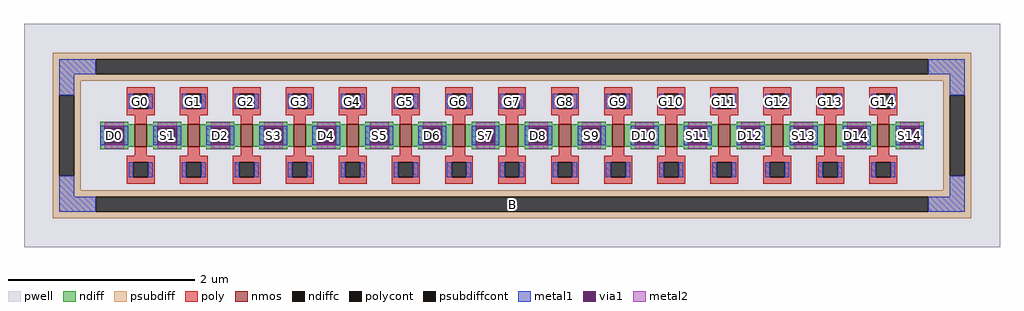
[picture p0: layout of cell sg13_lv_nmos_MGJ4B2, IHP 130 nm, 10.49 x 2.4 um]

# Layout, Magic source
magic
tech ihp-sg13cmos5l
magscale 1 2
<< pwell >>
rect -1049 -240 1049 240
<< nmos >>
rect -811 -24 -785 24
rect -697 -24 -671 24
rect -583 -24 -557 24
rect -469 -24 -443 24
rect -355 -24 -329 24
rect -241 -24 -215 24
rect -127 -24 -101 24
rect -13 -24 13 24
rect 101 -24 127 24
rect 215 -24 241 24
rect 329 -24 355 24
rect 443 -24 469 24
rect 557 -24 583 24
rect 671 -24 697 24
rect 785 -24 811 24
<< ndiff >>
rect -885 24 -825 30
rect -771 24 -711 30
rect -657 24 -597 30
rect -543 24 -483 30
rect -429 24 -369 30
rect -315 24 -255 30
rect -201 24 -141 30
rect -87 24 -27 30
rect 27 24 87 30
rect 141 24 201 30
rect 255 24 315 30
rect 369 24 429 30
rect 483 24 543 30
rect 597 24 657 30
rect 711 24 771 30
rect 825 24 885 30
rect -885 16 -811 24
rect -885 -16 -871 16
rect -839 -16 -811 16
rect -885 -24 -811 -16
rect -785 16 -697 24
rect -785 -16 -757 16
rect -725 -16 -697 16
rect -785 -24 -697 -16
rect -671 16 -583 24
rect -671 -16 -643 16
rect -611 -16 -583 16
rect -671 -24 -583 -16
rect -557 16 -469 24
rect -557 -16 -529 16
rect -497 -16 -469 16
rect -557 -24 -469 -16
rect -443 16 -355 24
rect -443 -16 -415 16
rect -383 -16 -355 16
rect -443 -24 -355 -16
rect -329 16 -241 24
rect -329 -16 -301 16
rect -269 -16 -241 16
rect -329 -24 -241 -16
rect -215 16 -127 24
rect -215 -16 -187 16
rect -155 -16 -127 16
rect -215 -24 -127 -16
rect -101 16 -13 24
rect -101 -16 -73 16
rect -41 -16 -13 16
rect -101 -24 -13 -16
rect 13 16 101 24
rect 13 -16 41 16
rect 73 -16 101 16
rect 13 -24 101 -16
rect 127 16 215 24
rect 127 -16 155 16
rect 187 -16 215 16
rect 127 -24 215 -16
rect 241 16 329 24
rect 241 -16 269 16
rect 301 -16 329 16
rect 241 -24 329 -16
rect 355 16 443 24
rect 355 -16 383 16
rect 415 -16 443 16
rect 355 -24 443 -16
rect 469 16 557 24
rect 469 -16 497 16
rect 529 -16 557 16
rect 469 -24 557 -16
rect 583 16 671 24
rect 583 -16 611 16
rect 643 -16 671 16
rect 583 -24 671 -16
rect 697 16 785 24
rect 697 -16 725 16
rect 757 -16 785 16
rect 697 -24 785 -16
rect 811 16 885 24
rect 811 -16 839 16
rect 871 -16 885 16
rect 811 -24 885 -16
rect -885 -30 -825 -24
rect -771 -30 -711 -24
rect -657 -30 -597 -24
rect -543 -30 -483 -24
rect -429 -30 -369 -24
rect -315 -30 -255 -24
rect -201 -30 -141 -24
rect -87 -30 -27 -24
rect 27 -30 87 -24
rect 141 -30 201 -24
rect 255 -30 315 -24
rect 369 -30 429 -24
rect 483 -30 543 -24
rect 597 -30 657 -24
rect 711 -30 771 -24
rect 825 -30 885 -24
<< ndiffc >>
rect -871 -16 -839 16
rect -757 -16 -725 16
rect -643 -16 -611 16
rect -529 -16 -497 16
rect -415 -16 -383 16
rect -301 -16 -269 16
rect -187 -16 -155 16
rect -73 -16 -41 16
rect 41 -16 73 16
rect 155 -16 187 16
rect 269 -16 301 16
rect 383 -16 415 16
rect 497 -16 529 16
rect 611 -16 643 16
rect 725 -16 757 16
rect 839 -16 871 16
<< psubdiff >>
rect -987 164 987 178
rect -987 132 -895 164
rect 895 132 987 164
rect -987 118 987 132
rect -987 86 -927 118
rect -987 -86 -973 86
rect -941 -86 -927 86
rect 927 86 987 118
rect -987 -118 -927 -86
rect 927 -86 941 86
rect 973 -86 987 86
rect 927 -118 987 -86
rect -987 -132 987 -118
rect -987 -164 -895 -132
rect 895 -164 987 -132
rect -987 -178 987 -164
<< psubdiffcont >>
rect -895 132 895 164
rect -973 -86 -941 86
rect 941 -86 973 86
rect -895 -164 895 -132
<< poly >>
rect -828 90 -768 104
rect -828 58 -814 90
rect -782 58 -768 90
rect -828 44 -768 58
rect -714 90 -654 104
rect -714 58 -700 90
rect -668 58 -654 90
rect -714 44 -654 58
rect -600 90 -540 104
rect -600 58 -586 90
rect -554 58 -540 90
rect -600 44 -540 58
rect -486 90 -426 104
rect -486 58 -472 90
rect -440 58 -426 90
rect -486 44 -426 58
rect -372 90 -312 104
rect -372 58 -358 90
rect -326 58 -312 90
rect -372 44 -312 58
rect -258 90 -198 104
rect -258 58 -244 90
rect -212 58 -198 90
rect -258 44 -198 58
rect -144 90 -84 104
rect -144 58 -130 90
rect -98 58 -84 90
rect -144 44 -84 58
rect -30 90 30 104
rect -30 58 -16 90
rect 16 58 30 90
rect -30 44 30 58
rect 84 90 144 104
rect 84 58 98 90
rect 130 58 144 90
rect 84 44 144 58
rect 198 90 258 104
rect 198 58 212 90
rect 244 58 258 90
rect 198 44 258 58
rect 312 90 372 104
rect 312 58 326 90
rect 358 58 372 90
rect 312 44 372 58
rect 426 90 486 104
rect 426 58 440 90
rect 472 58 486 90
rect 426 44 486 58
rect 540 90 600 104
rect 540 58 554 90
rect 586 58 600 90
rect 540 44 600 58
rect 654 90 714 104
rect 654 58 668 90
rect 700 58 714 90
rect 654 44 714 58
rect 768 90 828 104
rect 768 58 782 90
rect 814 58 828 90
rect 768 44 828 58
rect -811 24 -785 44
rect -697 24 -671 44
rect -583 24 -557 44
rect -469 24 -443 44
rect -355 24 -329 44
rect -241 24 -215 44
rect -127 24 -101 44
rect -13 24 13 44
rect 101 24 127 44
rect 215 24 241 44
rect 329 24 355 44
rect 443 24 469 44
rect 557 24 583 44
rect 671 24 697 44
rect 785 24 811 44
rect -811 -44 -785 -24
rect -697 -44 -671 -24
rect -583 -44 -557 -24
rect -469 -44 -443 -24
rect -355 -44 -329 -24
rect -241 -44 -215 -24
rect -127 -44 -101 -24
rect -13 -44 13 -24
rect 101 -44 127 -24
rect 215 -44 241 -24
rect 329 -44 355 -24
rect 443 -44 469 -24
rect 557 -44 583 -24
rect 671 -44 697 -24
rect 785 -44 811 -24
rect -828 -58 -768 -44
rect -828 -90 -814 -58
rect -782 -90 -768 -58
rect -828 -104 -768 -90
rect -714 -58 -654 -44
rect -714 -90 -700 -58
rect -668 -90 -654 -58
rect -714 -104 -654 -90
rect -600 -58 -540 -44
rect -600 -90 -586 -58
rect -554 -90 -540 -58
rect -600 -104 -540 -90
rect -486 -58 -426 -44
rect -486 -90 -472 -58
rect -440 -90 -426 -58
rect -486 -104 -426 -90
rect -372 -58 -312 -44
rect -372 -90 -358 -58
rect -326 -90 -312 -58
rect -372 -104 -312 -90
rect -258 -58 -198 -44
rect -258 -90 -244 -58
rect -212 -90 -198 -58
rect -258 -104 -198 -90
rect -144 -58 -84 -44
rect -144 -90 -130 -58
rect -98 -90 -84 -58
rect -144 -104 -84 -90
rect -30 -58 30 -44
rect -30 -90 -16 -58
rect 16 -90 30 -58
rect -30 -104 30 -90
rect 84 -58 144 -44
rect 84 -90 98 -58
rect 130 -90 144 -58
rect 84 -104 144 -90
rect 198 -58 258 -44
rect 198 -90 212 -58
rect 244 -90 258 -58
rect 198 -104 258 -90
rect 312 -58 372 -44
rect 312 -90 326 -58
rect 358 -90 372 -58
rect 312 -104 372 -90
rect 426 -58 486 -44
rect 426 -90 440 -58
rect 472 -90 486 -58
rect 426 -104 486 -90
rect 540 -58 600 -44
rect 540 -90 554 -58
rect 586 -90 600 -58
rect 540 -104 600 -90
rect 654 -58 714 -44
rect 654 -90 668 -58
rect 700 -90 714 -58
rect 654 -104 714 -90
rect 768 -58 828 -44
rect 768 -90 782 -58
rect 814 -90 828 -58
rect 768 -104 828 -90
<< polycont >>
rect -814 58 -782 90
rect -700 58 -668 90
rect -586 58 -554 90
rect -472 58 -440 90
rect -358 58 -326 90
rect -244 58 -212 90
rect -130 58 -98 90
rect -16 58 16 90
rect 98 58 130 90
rect 212 58 244 90
rect 326 58 358 90
rect 440 58 472 90
rect 554 58 586 90
rect 668 58 700 90
rect 782 58 814 90
rect -814 -90 -782 -58
rect -700 -90 -668 -58
rect -586 -90 -554 -58
rect -472 -90 -440 -58
rect -358 -90 -326 -58
rect -244 -90 -212 -58
rect -130 -90 -98 -58
rect -16 -90 16 -58
rect 98 -90 130 -58
rect 212 -90 244 -58
rect 326 -90 358 -58
rect 440 -90 472 -58
rect 554 -90 586 -58
rect 668 -90 700 -58
rect 782 -90 814 -58
<< metal1 >>
rect -973 132 -895 164
rect 895 132 973 164
rect -973 86 -941 132
rect -824 58 -814 90
rect -782 58 -772 90
rect -710 58 -700 90
rect -668 58 -658 90
rect -596 58 -586 90
rect -554 58 -544 90
rect -482 58 -472 90
rect -440 58 -430 90
rect -368 58 -358 90
rect -326 58 -316 90
rect -254 58 -244 90
rect -212 58 -202 90
rect -140 58 -130 90
rect -98 58 -88 90
rect -26 58 -16 90
rect 16 58 26 90
rect 88 58 98 90
rect 130 58 140 90
rect 202 58 212 90
rect 244 58 254 90
rect 316 58 326 90
rect 358 58 368 90
rect 430 58 440 90
rect 472 58 482 90
rect 544 58 554 90
rect 586 58 596 90
rect 658 58 668 90
rect 700 58 710 90
rect 772 58 782 90
rect 814 58 824 90
rect 941 86 973 132
rect -885 20 -825 21
rect -885 -20 -875 20
rect -835 -20 -825 20
rect -885 -21 -825 -20
rect -771 20 -711 21
rect -771 -20 -761 20
rect -721 -20 -711 20
rect -771 -21 -711 -20
rect -657 20 -597 21
rect -657 -20 -647 20
rect -607 -20 -597 20
rect -657 -21 -597 -20
rect -543 20 -483 21
rect -543 -20 -533 20
rect -493 -20 -483 20
rect -543 -21 -483 -20
rect -429 20 -369 21
rect -429 -20 -419 20
rect -379 -20 -369 20
rect -429 -21 -369 -20
rect -315 20 -255 21
rect -315 -20 -305 20
rect -265 -20 -255 20
rect -315 -21 -255 -20
rect -201 20 -141 21
rect -201 -20 -191 20
rect -151 -20 -141 20
rect -201 -21 -141 -20
rect -87 20 -27 21
rect -87 -20 -77 20
rect -37 -20 -27 20
rect -87 -21 -27 -20
rect 27 20 87 21
rect 27 -20 37 20
rect 77 -20 87 20
rect 27 -21 87 -20
rect 141 20 201 21
rect 141 -20 151 20
rect 191 -20 201 20
rect 141 -21 201 -20
rect 255 20 315 21
rect 255 -20 265 20
rect 305 -20 315 20
rect 255 -21 315 -20
rect 369 20 429 21
rect 369 -20 379 20
rect 419 -20 429 20
rect 369 -21 429 -20
rect 483 20 543 21
rect 483 -20 493 20
rect 533 -20 543 20
rect 483 -21 543 -20
rect 597 20 657 21
rect 597 -20 607 20
rect 647 -20 657 20
rect 597 -21 657 -20
rect 711 20 771 21
rect 711 -20 721 20
rect 761 -20 771 20
rect 711 -21 771 -20
rect 825 20 885 21
rect 825 -20 835 20
rect 875 -20 885 20
rect 825 -21 885 -20
rect -973 -132 -941 -86
rect -824 -90 -814 -58
rect -782 -90 -772 -58
rect -710 -90 -700 -58
rect -668 -90 -658 -58
rect -596 -90 -586 -58
rect -554 -90 -544 -58
rect -482 -90 -472 -58
rect -440 -90 -430 -58
rect -368 -90 -358 -58
rect -326 -90 -316 -58
rect -254 -90 -244 -58
rect -212 -90 -202 -58
rect -140 -90 -130 -58
rect -98 -90 -88 -58
rect -26 -90 -16 -58
rect 16 -90 26 -58
rect 88 -90 98 -58
rect 130 -90 140 -58
rect 202 -90 212 -58
rect 244 -90 254 -58
rect 316 -90 326 -58
rect 358 -90 368 -58
rect 430 -90 440 -58
rect 472 -90 482 -58
rect 544 -90 554 -58
rect 586 -90 596 -58
rect 658 -90 668 -58
rect 700 -90 710 -58
rect 772 -90 782 -58
rect 814 -90 824 -58
rect 941 -132 973 -86
rect -973 -164 -895 -132
rect 895 -164 973 -132
<< via1 >>
rect -875 16 -835 20
rect -875 -16 -871 16
rect -871 -16 -839 16
rect -839 -16 -835 16
rect -875 -20 -835 -16
rect -761 16 -721 20
rect -761 -16 -757 16
rect -757 -16 -725 16
rect -725 -16 -721 16
rect -761 -20 -721 -16
rect -647 16 -607 20
rect -647 -16 -643 16
rect -643 -16 -611 16
rect -611 -16 -607 16
rect -647 -20 -607 -16
rect -533 16 -493 20
rect -533 -16 -529 16
rect -529 -16 -497 16
rect -497 -16 -493 16
rect -533 -20 -493 -16
rect -419 16 -379 20
rect -419 -16 -415 16
rect -415 -16 -383 16
rect -383 -16 -379 16
rect -419 -20 -379 -16
rect -305 16 -265 20
rect -305 -16 -301 16
rect -301 -16 -269 16
rect -269 -16 -265 16
rect -305 -20 -265 -16
rect -191 16 -151 20
rect -191 -16 -187 16
rect -187 -16 -155 16
rect -155 -16 -151 16
rect -191 -20 -151 -16
rect -77 16 -37 20
rect -77 -16 -73 16
rect -73 -16 -41 16
rect -41 -16 -37 16
rect -77 -20 -37 -16
rect 37 16 77 20
rect 37 -16 41 16
rect 41 -16 73 16
rect 73 -16 77 16
rect 37 -20 77 -16
rect 151 16 191 20
rect 151 -16 155 16
rect 155 -16 187 16
rect 187 -16 191 16
rect 151 -20 191 -16
rect 265 16 305 20
rect 265 -16 269 16
rect 269 -16 301 16
rect 301 -16 305 16
rect 265 -20 305 -16
rect 379 16 419 20
rect 379 -16 383 16
rect 383 -16 415 16
rect 415 -16 419 16
rect 379 -20 419 -16
rect 493 16 533 20
rect 493 -16 497 16
rect 497 -16 529 16
rect 529 -16 533 16
rect 493 -20 533 -16
rect 607 16 647 20
rect 607 -16 611 16
rect 611 -16 643 16
rect 643 -16 647 16
rect 607 -20 647 -16
rect 721 16 761 20
rect 721 -16 725 16
rect 725 -16 757 16
rect 757 -16 761 16
rect 721 -20 761 -16
rect 835 16 875 20
rect 835 -16 839 16
rect 839 -16 871 16
rect 871 -16 875 16
rect 835 -20 875 -16
<< metal2 >>
rect -875 20 -835 29
rect -875 -29 -835 -20
rect -761 20 -721 29
rect -761 -29 -721 -20
rect -647 20 -607 29
rect -647 -29 -607 -20
rect -533 20 -493 29
rect -533 -29 -493 -20
rect -419 20 -379 29
rect -419 -29 -379 -20
rect -305 20 -265 29
rect -305 -29 -265 -20
rect -191 20 -151 29
rect -191 -29 -151 -20
rect -77 20 -37 29
rect -77 -29 -37 -20
rect 37 20 77 29
rect 37 -29 77 -20
rect 151 20 191 29
rect 151 -29 191 -20
rect 265 20 305 29
rect 265 -29 305 -20
rect 379 20 419 29
rect 379 -29 419 -20
rect 493 20 533 29
rect 493 -29 533 -20
rect 607 20 647 29
rect 607 -29 647 -20
rect 721 20 761 29
rect 721 -29 761 -20
rect 835 20 875 29
rect 835 -29 875 -20
<< labels >>
rlabel psubdiffcont 0 -148 0 -148 0 B
port 1 nsew
rlabel ndiffc -855 0 -855 0 0 D0
port 2 nsew
rlabel polycont -798 74 -798 74 0 G0
port 3 nsew
rlabel ndiffc -741 0 -741 0 0 S1
port 4 nsew
rlabel polycont -684 74 -684 74 0 G1
port 5 nsew
rlabel ndiffc -627 0 -627 0 0 D2
port 6 nsew
rlabel polycont -570 74 -570 74 0 G2
port 7 nsew
rlabel ndiffc -513 0 -513 0 0 S3
port 8 nsew
rlabel polycont -456 74 -456 74 0 G3
port 9 nsew
rlabel ndiffc -399 0 -399 0 0 D4
port 10 nsew
rlabel polycont -342 74 -342 74 0 G4
port 11 nsew
rlabel ndiffc -285 0 -285 0 0 S5
port 12 nsew
rlabel polycont -228 74 -228 74 0 G5
port 13 nsew
rlabel ndiffc -171 0 -171 0 0 D6
port 14 nsew
rlabel polycont -114 74 -114 74 0 G6
port 15 nsew
rlabel ndiffc -57 0 -57 0 0 S7
port 16 nsew
rlabel polycont 0 74 0 74 0 G7
port 17 nsew
rlabel ndiffc 57 0 57 0 0 D8
port 18 nsew
rlabel polycont 114 74 114 74 0 G8
port 19 nsew
rlabel ndiffc 171 0 171 0 0 S9
port 20 nsew
rlabel polycont 228 74 228 74 0 G9
port 21 nsew
rlabel ndiffc 285 0 285 0 0 D10
port 22 nsew
rlabel polycont 342 74 342 74 0 G10
port 23 nsew
rlabel ndiffc 399 0 399 0 0 S11
port 24 nsew
rlabel polycont 456 74 456 74 0 G11
port 25 nsew
rlabel ndiffc 513 0 513 0 0 D12
port 26 nsew
rlabel polycont 570 74 570 74 0 G12
port 27 nsew
rlabel ndiffc 627 0 627 0 0 S13
port 28 nsew
rlabel polycont 684 74 684 74 0 G13
port 29 nsew
rlabel ndiffc 741 0 741 0 0 D14
port 30 nsew
rlabel ndiffc 855 0 855 0 0 S14
port 31 nsew
rlabel polycont 798 74 798 74 0 G14
port 32 nsew
<< properties >>
string FIXED_BBOX -957 -148 957 148
string gencell sg13_lv_nmos
string library sg13cmos5l
string parameters w 0.24 l 0.13 m 1 ng 15 diffcov 85 polycov 100 guard 1 glc 1 grc 1 gtc 1 gbc 1 tbcov 100 rlcov 100 topc 1 botc 1 poverlap 0 doverlap 1 lmin 0.13 wmin 0.15 class mosfet compatible {sg13_lv_nmos sg13_hv_nmos} full_metal 1 conn_gates 0 gate_ring 0 doports 1 viasrc 100 viadrn 100 viagate 0 ccols 1 viagb 0 viagr 0 viagl 0 viagt 0
<< end >>
